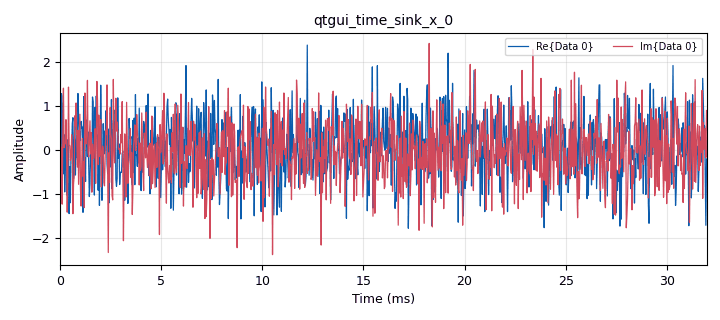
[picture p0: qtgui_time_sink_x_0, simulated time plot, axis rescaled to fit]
options:
  parameters:
    generate_options: qt_gui
    id: PersonalSignalDetection
    output_language: python
    title: Not titled yet
  states: {}

blocks:
- name: noise_amp
  id: variable_qtgui_range
  parameters:
    label: amp
    start: '0'
    step: '0.01'
    stop: '4'
    value: '0'
  states: {}
- name: samp_rate
  id: variable
  parameters:
    value: '32000'
  states: {}
- name: analog_noise_source_x_0
  id: analog_noise_source_x
  parameters:
    amp: '1'
    noise_type: analog.GR_GAUSSIAN
    seed: '0'
    type: complex
  states: {}
- name: analog_sig_source_x_0
  id: analog_sig_source_x
  parameters:
    amp: '1'
    freq: freq
    offset: '0'
    phase: '0'
    samp_rate: samp_rate
    type: complex
    waveform: analog.GR_COS_WAVE
  states: {state: disabled}
- name: analog_sig_source_x_1
  id: analog_sig_source_x
  parameters:
    amp: noise_amp
    freq: '1000'
    offset: '0'
    phase: '0'
    samp_rate: samp_rate
    type: complex
    waveform: analog.GR_COS_WAVE
  states: {}
- name: blocks_add_xx_0
  id: blocks_add_xx
  parameters:
    type: complex
  states: {}
- name: blocks_throttle2_0
  id: blocks_throttle2
  parameters:
    samples_per_second: samp_rate
    type: complex
  states: {}
- name: epy_block_0
  id: epy_block
  parameters:
    _source_code: |
      """
      Embedded Python Blocks:

      Each time this file is saved, GRC will instantiate the first class it finds
      to get ports and parameters of your block. The arguments to __init__  will
      be the parameters. All of them are required to have default values!
      """

      import numpy as np
      from gnuradio import gr
      import pmt


      class blk(gr.sync_block):  # other base classes are basic_block, decim_block, interp_block
          """Embedded Python Block example - a simple multiply const"""

          def __init__(self, threshold=1.17):  # only default arguments here
              """arguments to this function show up as parameters in GRC"""
              gr.sync_block.__init__(
                  self,
                  name='Average Power Block',   # will show up in GRC
                  in_sig=[np.complex64],
                  out_sig=[np.complex64]
              )
              # if an attribute with the same name as a parameter is found,
              # a callback is registered (properties work, too).
              self.samples_since_print = 0
              self.threshold = threshold
              self.total_batches = 0
              self.correct = 0
              self.detection_state = False
              self.message_port_register_out(pmt.intern("detected"))

          def work(self, input_items, output_items):
              """example: multiply with constant"""
              # Calculate each sample's power
              powers = np.abs(input_items[0]) ** 2
              
              # Average the power values and store it
              self.average = np.mean(powers)
                      
              self.samples_since_print += len(input_items[0])
              
              # Check if the average signal exceeds the threshold
              detected = bool(self.average > self.threshold)
              
              self.total_batches += 1
              
              if self.detection_state != detected:
                  # Insert message / Placeholder return
                  self.message_port_pub(
                      pmt.intern("detected"),
                      pmt.from_bool(detected)
                  )
                  self.detection_state = detected

              if detected:
                  self.correct += 1

              if self.samples_since_print >= 32000:
                  print(f"Average power: {self.average:.6f} \nExceed Threshold: {detected}")
                  self.samples_since_print = 0
                  rate = self.correct / self.total_batches
                  print(f"Detected Batches: {self.correct}/{self.total_batches} ({rate:.2%})")
              
              
              output_items[0][:] = input_items[0]
              
              return len(output_items[0])
    threshold: '1.17'
  states: {}
- name: epy_block_1
  id: epy_block
  parameters:
    _source_code: |
      """
      Embedded Python Blocks:

      Each time this file is saved, GRC will instantiate the first class it finds
      to get ports and parameters of your block. The arguments to __init__  will
      be the parameters. All of them are required to have default values!
      """

      import numpy as np
      from gnuradio import gr
      import pmt


      class blk(gr.sync_block):  # other base classes are basic_block, decim_block, interp_block
          """Embedded Python Block example - a simple multiply const"""

          def __init__(self):  # only default arguments here
              """arguments to this function show up as parameters in GRC"""
              gr.sync_block.__init__(
                  self,
                  name='Recording Control Block',   # will show up in GRC
                  in_sig=[np.complex64],
                  out_sig=[np.complex64]
              )
              # if an attribute with the same name as a parameter is found,
              # a callback is registered (properties work, too).
              self.recording = False
              self.message_port_register_in(pmt.intern("record"))
              self.set_msg_handler(pmt.intern("record"), self.handle_msg)
              self.saved_batches = []
              self.saved_samples = 0
              
          def handle_msg(self, msg):
              new_state = pmt.to_bool(msg)
              
              if new_state != self.recording:
                  if new_state == True:
                      print("Recording started!")
                  else:
                      print("Recording stopped!")
                      print(f"Saved batches: {len(self.saved_batches)}, "
                            f"saved samples: {self.saved_samples}")
                  
              self.recording = new_state

          def work(self, input_items, output_items):
              """example: multiply with constant"""
              if self.recording:
                  self.saved_batches.append(input_items[0].copy())
                  self.saved_samples += len(input_items[0])
              output_items[0][:] = input_items[0]
              return len(output_items[0])
  states: {}
- name: qtgui_time_sink_x_0
  id: qtgui_time_sink_x
  parameters:
    size: '1024'
    srate: samp_rate
    type: complex
    ymax: '2'
    ymin: '-2'
  states: {}

connections:
- [analog_noise_source_x_0, '0', blocks_add_xx_0, '0']
- [analog_sig_source_x_0, '0', epy_block_0, '0']
- [analog_sig_source_x_1, '0', blocks_add_xx_0, '1']
- [blocks_add_xx_0, '0', epy_block_0, '0']
- [blocks_throttle2_0, '0', epy_block_1, '0']
- [epy_block_0, '0', blocks_throttle2_0, '0']
- [epy_block_0, detected, epy_block_1, record]
- [epy_block_1, '0', qtgui_time_sink_x_0, '0']

metadata:
  file_format: 1
  grc_version: 3.10.12.0
